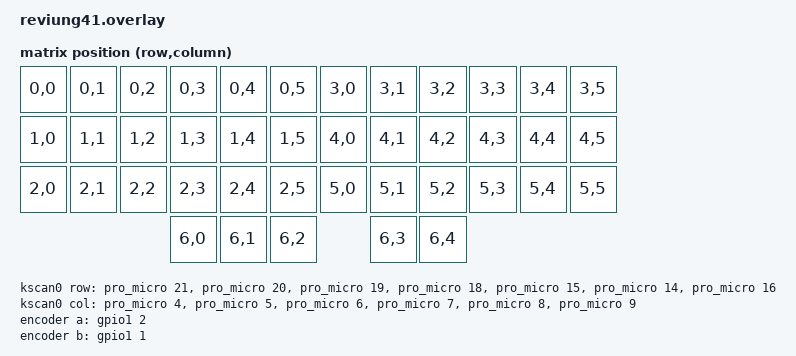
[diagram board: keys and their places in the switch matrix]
// NO CLICK

/*
 * Copyright (c) 2020 The ZMK Contributors
 *
 * SPDX-License-Identifier: MIT
 */
#include <dt-bindings/led/led.h>
&pinctrl {

    spi3_default: spi3_default {
        group1 {
            psels = <NRF_PSEL(SPIM_MOSI, 0, 6)>,
                    <NRF_PSEL(SPIM_MISO, 0, 7)>,
                    <NRF_PSEL(SPIM_SCK, 0, 5)>;
        };
    };

    spi3_sleep: spi3_sleep {
        group1 {
            psels = <NRF_PSEL(SPIM_MOSI, 0, 6)>,
                    <NRF_PSEL(SPIM_MISO, 0, 7)>,
                    <NRF_PSEL(SPIM_SCK, 0, 5)>;
            low-power-enable;
        };
    };

    spi0_default: spi0_default {
        group1 {
            psels = <NRF_PSEL(SPIM_SCK, 1, 17)>,
                <NRF_PSEL(SPIM_MOSI, 1, 20)>,
                <NRF_PSEL(SPIM_MISO, 0, 25)>; /* GPIO0 19 is not broken on a nice!nano.*/
        };
    };
    spi0_sleep: spi0_sleep {
        group1 {
            psels = <NRF_PSEL(SPIM_SCK, 1, 17)>,
                <NRF_PSEL(SPIM_MOSI, 1, 20)>,
                <NRF_PSEL(SPIM_MISO, 0, 25)>; /* GPIO0 19 is not broken on a nice!nano.*/
            low-power-enable;
        };
    };

};

nice_view_spi: &spi0 {
    compatible = "nordic,nrf-spim";
    pinctrl-0 = <&spi0_default>;
    pinctrl-1 = <&spi0_sleep>;
    pinctrl-names = "default", "sleep";
    cs-gpios = <&pro_micro 1 GPIO_ACTIVE_HIGH>;
};

&spi3 {
    compatible = "nordic,nrf-spim";
    status = "okay";

    pinctrl-0 = <&spi3_default>;
    pinctrl-1 = <&spi3_sleep>;
    pinctrl-names = "default", "sleep";

    led_strip: ws2812@0 {
        compatible = "worldsemi,ws2812-spi";

        /* SPI */
        reg = <0>; /* Ignored, but necessary for SPI bindings */
        spi-max-frequency = <4000000>;

        /* WS2812 */
        chain-length = <11>;
        spi-one-frame = <0x70>;
        spi-zero-frame = <0x40>;

        color-mapping = <0x01 0x02 0x03>; /* Green, Red, Blue */
    };
};


#include <dt-bindings/zmk/matrix_transform.h>

/ {
    chosen {
        zmk,kscan = &kscan0;
        zmk,matrix_transform = &default_transform;
        zmk,underglow = &led_strip;
    };

    default_transform: keymap_transform_0 {
        compatible = "zmk,matrix-transform";
        columns = <6>;
        rows = <7>;

        map = <
RC(0,0) RC(0,1) RC(0,2) RC(0,3) RC(0,4) RC(0,5) RC(3,0) RC(3,1) RC(3,2) RC(3,3) RC(3,4) RC(3,5)
RC(1,0) RC(1,1) RC(1,2) RC(1,3) RC(1,4) RC(1,5) RC(4,0) RC(4,1) RC(4,2) RC(4,3) RC(4,4) RC(4,5)
RC(2,0) RC(2,1) RC(2,2) RC(2,3) RC(2,4) RC(2,5) RC(5,0) RC(5,1) RC(5,2) RC(5,3) RC(5,4) RC(5,5)
                        RC(6,0)    RC(6,1)  RC(6,2)  RC(6,3)    RC(6,4)
        >;
    };

    kscan0: kscan_0 {
        compatible = "zmk,kscan-gpio-matrix";
        label = "KSCAN";
        diode-direction = "col2row";

        col-gpios
            = <&pro_micro 4 GPIO_ACTIVE_HIGH>
            , <&pro_micro 5 GPIO_ACTIVE_HIGH>
            , <&pro_micro 6 GPIO_ACTIVE_HIGH>
            , <&pro_micro 7 GPIO_ACTIVE_HIGH>
            , <&pro_micro 8 GPIO_ACTIVE_HIGH>
            , <&pro_micro 9 GPIO_ACTIVE_HIGH>
            ;

        row-gpios
            = <&pro_micro 21 (GPIO_ACTIVE_HIGH | GPIO_PULL_DOWN)>
            , <&pro_micro 20 (GPIO_ACTIVE_HIGH | GPIO_PULL_DOWN)>
            , <&pro_micro 19 (GPIO_ACTIVE_HIGH | GPIO_PULL_DOWN)>
            , <&pro_micro 18 (GPIO_ACTIVE_HIGH | GPIO_PULL_DOWN)>
            , <&pro_micro 15 (GPIO_ACTIVE_HIGH | GPIO_PULL_DOWN)>
            , <&pro_micro 14 (GPIO_ACTIVE_HIGH | GPIO_PULL_DOWN)>
            , <&pro_micro 16 (GPIO_ACTIVE_HIGH | GPIO_PULL_DOWN)>
            ;
    };


	encoder: encoder {
		compatible = "alps,ec11";
		label = "ENCODER";
		a-gpios = <&gpio1 2 (GPIO_ACTIVE_HIGH | GPIO_PULL_UP)>;//gpio1 1 is P1.01 (101)
		b-gpios = <&gpio1 1 (GPIO_ACTIVE_HIGH | GPIO_PULL_UP)>;//gpio1 2 is P1.02 (102)
		resolution = <4>;
		status = "okay";
	};

	sensors {
		compatible = "zmk,keymap-sensors";
		sensors = <&encoder>;
	};

};
